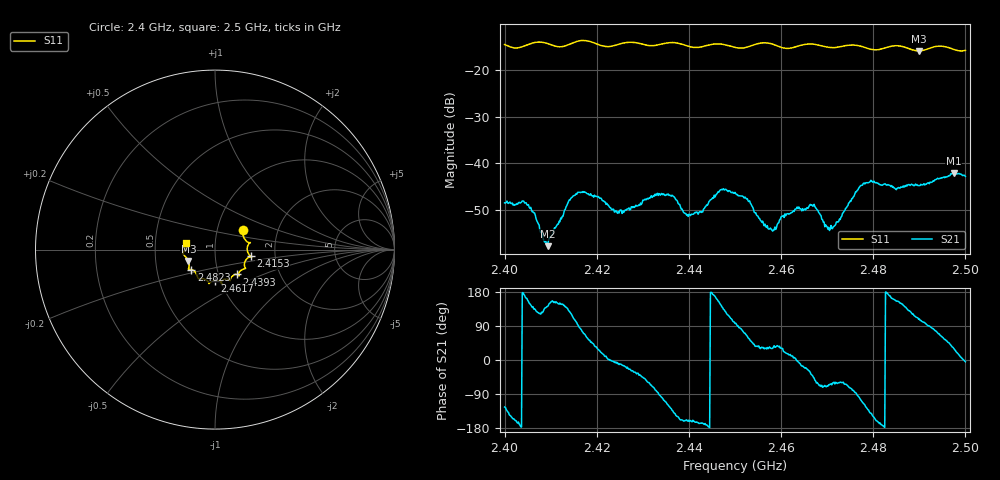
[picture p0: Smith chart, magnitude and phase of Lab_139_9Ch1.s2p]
# Hz S RI R 50
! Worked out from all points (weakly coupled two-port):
!   601 points, 2.4 GHz to 2.5 GHz, reference 50 ohm
!   highest |S21| = -42.12 dB at 2.4975 GHz (marker M1); lowest = -57.8 dB at 2.4093 GHz (marker M2)
!   lowest |S11| = -15.8 dB at 2.4898 GHz (marker M3), VSWR 1.39, Z = 36.8 - j4.79 ohm
!   |S11| at or under -10 dB: start of sweep to end of sweep
!   S12 and S22 are empty: the file has one direction only
!   S11 on the Smith chart (normalised r, x): 2.4 GHz: 1.33, +0.30; 2.4153 GHz: 1.49, -0.12; 2.4393 GHz: 1.23, -0.35; 2.4617 GHz: 0.94, -0.33; 2.4823 GHz: 0.75, -0.17; 2.5 GHz: 0.72, +0.05
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2.4e9  0.155 0.1087  -0.00211 -0.00313  0 0  0 0
2.404667e9  0.1809 0.0425  -0.00363 0.00109  0 0  0 0
2.409333e9  0.1909 0.0351  -0.00101 0.000807  0 0  0 0
2.415333e9  0.1983 -0.0376  -0.00109 0.00446  0 0  0 0
2.416667e9  0.2047 -0.042  0.000908 0.00484  0 0  0 0
2.424333e9  0.1644 -0.091  0.00301 -0.000314  0 0  0 0
2.433333e9  0.132 -0.1339  0.000263 -0.00453  0 0  0 0
2.4365e9  0.1343 -0.1466  -0.00313 -0.00322  0 0  0 0
2.439333e9  0.1229 -0.1382  -0.00272 -0.000996  0 0  0 0
2.4425e9  0.093 -0.1515  -0.00296 -0.000706  0 0  0 0
2.447e9  0.0841 -0.1719  -0.00424 0.00306  0 0  0 0
2.45e9  0.066 -0.1637  -0.000559 0.00487  0 0  0 0
2.457667e9  0.0386 -0.1903  0.00172 0.00107  0 0  0 0
2.461667e9  0.0004 -0.1722  0.00277 0.000681  0 0  0 0
2.466667e9  -0.0335 -0.1889  0.00279 -0.00228  0 0  0 0
2.470667e9  -0.0527 -0.1677  0.000884 -0.00177  0 0  0 0
2.4775e9  -0.0969 -0.1522  -0.00185 -0.00553  0 0  0 0
2.482333e9  -0.1322 -0.1111  -0.00598 -0.000395  0 0  0 0
2.483333e9  -0.1409 -0.11  -0.00583 0.000801  0 0  0 0
2.489833e9  -0.1486 -0.0634  -0.00173 0.00552  0 0  0 0
2.4975e9  -0.1675 -0.0033  0.00678 0.00394  0 0  0 0
2.5e9  -0.16 0.0361  0.00724 -0.000566  0 0  0 0
